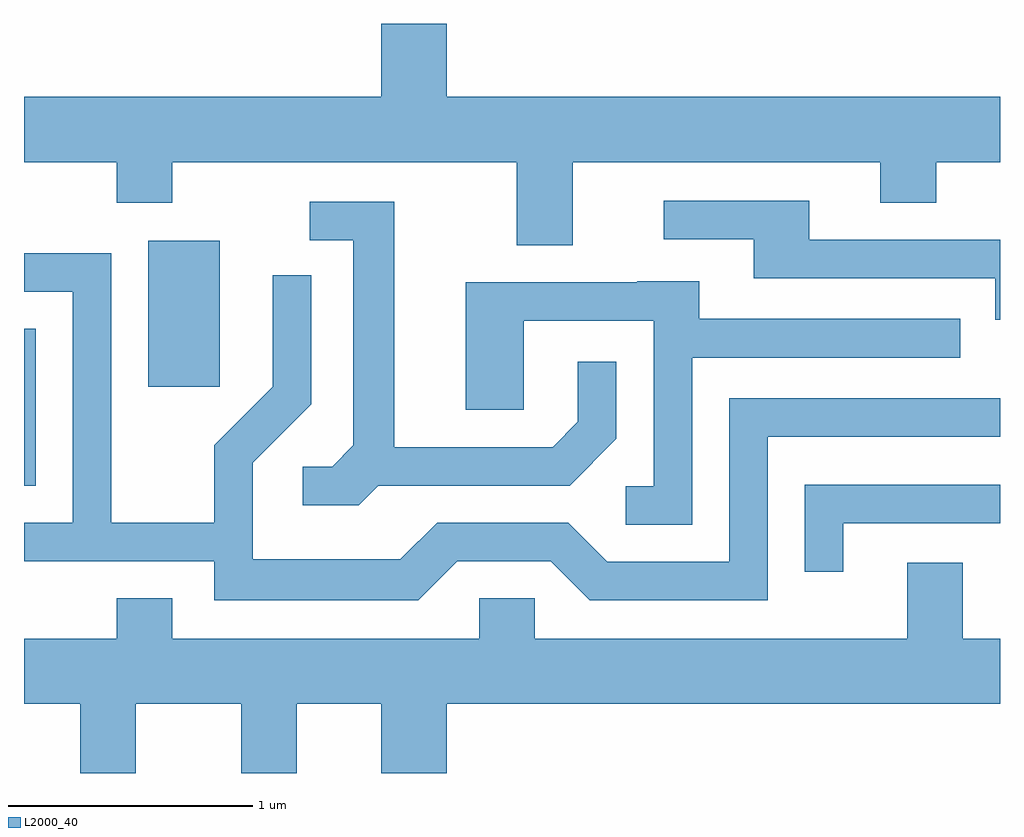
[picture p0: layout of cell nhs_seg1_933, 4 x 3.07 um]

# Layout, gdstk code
import gdstk
lib = gdstk.Library(unit=1e-6, precision=1e-09)
def R(c, l, rs):  # rectangles x0, y0, x1, y1
    for r in rs: c.add(gdstk.rectangle(r[:2], r[2:], *l))
def P(c, l, *ps):  # polygons
    for p in ps: c.add(gdstk.Polygon(p, *l))
L2000_40 = (2000, 40)

nhs_seg1_933 = lib.new_cell('nhs_seg1_933')
R(nhs_seg1_933, L2000_40, [(213.611,924.891,213.659,925.534), (214.121,925.296,214.414,925.894)])
P(nhs_seg1_933, L2000_40, [(215.859,926.216),(217.121,926.216),(217.121,926.051),(217.349,926.051),(217.349,926.216),(217.611,926.216),(217.611,926.484),(215.344,926.484),(215.344,926.784),(215.076,926.784),(215.076,926.484),(213.611,926.484),(213.611,926.216),(213.991,926.216),(213.991,926.051),(214.219,926.051),(214.219,926.216),(215.631,926.216),(215.631,925.876),(215.859,925.876)],
  [(217.611,925.899),(216.829,925.899),(216.829,926.059),(216.233,926.059),(216.233,925.901),(216.601,925.901),(216.601,925.741),(217.591,925.741),(217.591,925.571),(217.611,925.571)],
  [(215.062,924.891),(215.847,924.891),(216.039,925.084),(216.039,925.398),(215.881,925.398),(215.881,925.152),(215.779,925.049),(215.129,925.049),(215.129,926.054),(214.783,926.054),(214.783,925.896),(214.961,925.896),(214.961,925.057),(214.874,924.969),(214.753,924.969),(214.753,924.811),(214.982,924.811)],
  [(215.387,924.581),(215.769,924.581),(215.929,924.421),(216.659,924.421),(216.659,925.091),(217.611,925.091),(217.611,925.249),(216.501,925.249),(216.501,924.579),(216.002,924.579),(215.842,924.739),(215.304,924.739),(215.154,924.589),(214.549,924.589),(214.549,924.984),(214.789,925.224),(214.789,925.753),(214.631,925.753),(214.631,925.297),(214.391,925.057),(214.391,924.739),(213.969,924.739),(213.969,925.844),(213.611,925.844),(213.611,925.686),(213.811,925.686),(213.811,924.739),(213.611,924.739),(213.611,924.581),(214.391,924.581),(214.391,924.421),(215.227,924.421)],
  [(216.349,925.416),(217.448,925.416),(217.448,925.574),(216.379,925.574),(216.379,925.729),(216.125,925.729),(216.125,925.724),(215.421,925.724),(215.421,925.201),(215.659,925.201),(215.659,925.566),(216.191,925.566),(216.191,924.889),(216.078,924.889),(216.078,924.731),(216.349,924.731)],
  [(216.969,924.736),(217.611,924.736),(217.611,924.894),(216.811,924.894),(216.811,924.538),(216.969,924.538)],
  [(214.069,923.996),(214.501,923.996),(214.501,923.712),(214.729,923.712),(214.729,923.996),(215.076,923.996),(215.076,923.712),(215.344,923.712),(215.344,923.996),(217.611,923.996),(217.611,924.264),(217.459,924.264),(217.459,924.574),(217.231,924.574),(217.231,924.264),(215.704,924.264),(215.704,924.429),(215.476,924.429),(215.476,924.264),(214.219,924.264),(214.219,924.429),(213.991,924.429),(213.991,924.264),(213.611,924.264),(213.611,923.996),(213.841,923.996),(213.841,923.712),(214.069,923.712)])

lib.write_gds('nhs_seg1_933.gds')
